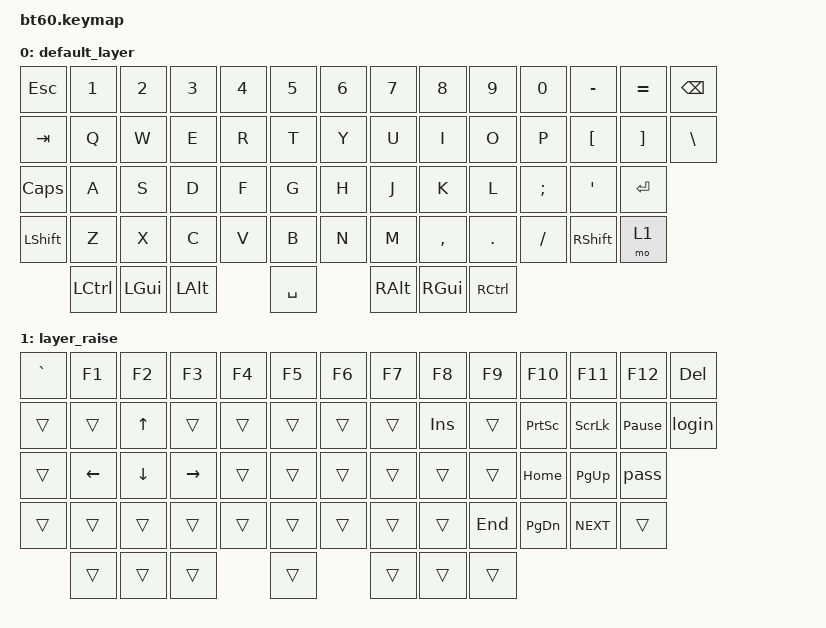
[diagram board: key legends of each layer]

/*
 * Copyright (c) 2020 The ZMK Contributors
 *
 * SPDX-License-Identifier: MIT
 */


/* THIS FILE WAS GENERATED!
 *
 * This file was generated automatically. You may or may not want to
 * edit it directly.
 */

#include <behaviors.dtsi>
#include <dt-bindings/zmk/keys.h>

#include <dt-bindings/zmk/bt.h>

/ {
    macros {
        login: login {
            label = "ZM_login";
            compatible = "zmk,behavior-macro";
            #binding-cells = <0>;
            bindings
                = <&macro_tap &kp I &kp N &kp T &kp U &kp N &kp E &kp UNDER &kp D &kp E &kp P &kp L &kp O &kp Y &kp M &kp E &kp N &kp T &kp N1>
                , <&macro_tap &kp AT &kp T &kp E &kp A &kp M &kp G &kp L &kp O &kp B &kp A &kp L &kp E &kp X &kp P>
                , <&macro_tap &kp DOT &kp C &kp O &kp M &kp RET>
                ;
        };
        
        pass: pass {
            label = "ZM_pass";
            compatible = "zmk,behavior-macro";
            #binding-cells = <0>;
            bindings
                = <&macro_tap &kp D>
                , <&macro_press &kp LSHFT>
                , <&macro_tap &kp O>
                , <&macro_release &kp LSHFT>
                , <&macro_tap &kp M &kp AT &kp EXCL &kp N &kp P>
                , <&macro_press &kp LSHFT>
                , <&macro_tap &kp A &kp S>
                , <&macro_release &kp LSHFT>
                , <&macro_tap &kp DLLR &kp UNDER &kp N2 &kp N4 &kp N6 &kp RET>
                ;
        };
    };
    
    keymap {
        compatible = "zmk,keymap";


        default_layer {
            bindings = <
   &kp ESC     &kp N1    &kp N2    &kp N3     &kp N4    &kp N5            &kp N6       &kp N7     &kp N8      &kp N9    &kp N0  &kp MINUS  &kp EQUAL  &kp BSPC
   &kp TAB      &kp Q     &kp W     &kp E      &kp R     &kp T             &kp Y        &kp U      &kp I       &kp O     &kp P   &kp LBKT   &kp RBKT  &kp BSLH
  &kp CLCK      &kp A     &kp S     &kp D      &kp F     &kp G             &kp H        &kp J      &kp K       &kp L  &kp SEMI    &kp SQT    &kp RET
 &kp LSHFT      &kp Z     &kp X     &kp C      &kp V     &kp B             &kp N        &kp M  &kp COMMA     &kp DOT  &kp FSLH    &kp RSHFT   &mo 1
            &kp LCTRL  &kp LGUI  &kp LALT                &kp SPACE                      &kp RALT &kp RGUI  &kp RCTRL
            >;
        };

        layer_raise {
            bindings = <
  &kp GRAVE     &kp F1   &kp F2     &kp F3    &kp F4   &kp F5             &kp F6      &kp F7     &kp F8     &kp F9    &kp F10     &kp F11  &kp F12  &kp DEL
     &trans     &trans   &kp UP     &trans    &trans   &trans             &trans      &trans     &kp INS    &trans  &kp PSCRN    &kp SLCK  &kp PAUSE_BREAK &login
     &trans     &kp LEFT &kp DOWN   &kp RIGHT &trans   &trans             &trans      &trans     &trans     &trans   &kp HOME    &kp PG_UP &pass
     &trans     &trans   &trans     &trans    &trans   &trans             &trans      &trans     &trans     &kp END  &kp PG_DN   &kp C_NEXT &trans
              &trans    &trans      &trans             &trans                         &trans     &trans     &trans
            >;
        };

    };
};
